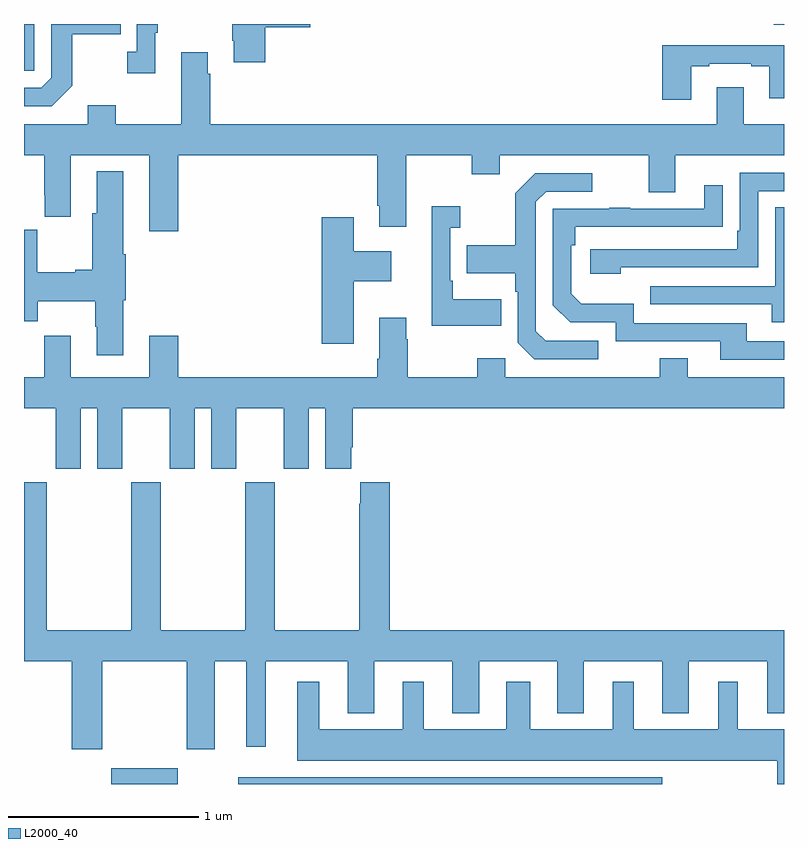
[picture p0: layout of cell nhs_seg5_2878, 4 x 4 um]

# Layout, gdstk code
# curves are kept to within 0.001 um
import gdstk
lib = gdstk.Library(unit=1e-6, precision=1e-09)
def R(c, l, rs):  # rectangles x0, y0, x1, y1
    for r in rs: c.add(gdstk.rectangle(r[:2], r[2:], *l))
def P(c, l, *ps):  # polygons
    for p in ps: c.add(gdstk.Polygon(p, *l))
L2000_40 = (2000, 40)

nhs_seg5_2878 = lib.new_cell('nhs_seg5_2878')
R(nhs_seg5_2878, L2000_40, [(279.458,838.799,279.808,838.882), (280.128,838.799,282.358,838.834), (279,842.553,279.054,842.799), (282.947,842.796,283,842.799)])
P(nhs_seg5_2878, L2000_40, [(279.691,842.753),(279.703,842.753),(279.703,842.799),(279.594,842.799),(279.594,842.654),(279.543,842.654),(279.543,842.541),(279.691,842.541)],
  [(280.271,842.783),(280.507,842.783),(280.507,842.799),(280.096,842.799),(280.096,842.71),(280.103,842.71),(280.103,842.598),(280.271,842.598)],
  [(279.253,842.473),(279.253,842.746),(279.509,842.746),(279.509,842.799),(279.144,842.799),(279.144,842.517),(279.09,842.463),(279,842.463),(279,842.367),(279.147,842.367)],
  [(282.511,842.577),(282.607,842.577),(282.607,842.589),(282.827,842.589),(282.827,842.577),(282.923,842.577),(282.923,842.408),(283,842.408),(283,842.686),(282.359,842.686),(282.359,842.4),(282.511,842.4)],
  [(279.812,842.108),(280.859,842.108),(280.859,841.843),(280.871,841.843),(280.871,841.731),(281.011,841.731),(281.011,842.108),(281.356,842.108),(281.356,842.009),(281.503,842.009),(281.503,842.108),(282.287,842.108),(282.287,841.914),(282.427,841.914),(282.427,842.108),(283,842.108),(283,842.272),(282.787,842.272),(282.787,842.467),(282.647,842.467),(282.647,842.272),(279.98,842.272),(279.98,842.537),(279.967,842.537),(279.967,842.65),(279.827,842.65),(279.827,842.272),(279.483,842.272),(279.483,842.371),(279.335,842.371),(279.335,842.272),(279,842.272),(279,842.108),(279.107,842.108),(279.107,841.897),(279.11,841.897),(279.11,841.785),(279.247,841.785),(279.247,842.108),(279.659,842.108),(279.659,841.707),(279.812,841.707)],
  [(279.523,841.344),(279.536,841.344),(279.536,841.588),(279.523,841.588),(279.523,842.023),(279.383,842.023),(279.383,841.803),(279.358,841.803),(279.358,841.505),(279.269,841.505),(279.269,841.492),(279.069,841.492),(279.069,841.715),(279,841.715),(279,841.234),(279.073,841.234),(279.073,841.34),(279.376,841.34),(279.376,841.206),(279.383,841.206),(279.383,841.056),(279.523,841.056)],
  [(282.14,841.518),(282.864,841.518),(282.864,841.92),(283,841.92),(283,842.016),(282.768,842.016),(282.768,841.711),(282.755,841.711),(282.755,841.614),(281.979,841.614),(281.979,841.484),(282.14,841.484)],
  [(282.022,841.131),(281.745,841.131),(281.694,841.182),(281.694,841.863),(281.748,841.917),(281.992,841.917),(281.992,842.013),(281.691,842.013),(281.586,841.907),(281.586,841.635),(281.329,841.635),(281.329,841.487),(281.586,841.487),(281.586,841.391),(281.598,841.391),(281.598,841.122),(281.685,841.035),(282.022,841.035)],
  [(283,841.128),(282.805,841.128),(282.805,841.224),(282.21,841.224),(282.21,841.327),(281.933,841.327),(281.88,841.38),(281.88,841.634),(281.9,841.634),(281.9,841.731),(282.677,841.732),(282.677,841.951),(282.581,841.951),(282.581,841.827),(282.191,841.827),(282.191,841.832),(282.079,841.832),(282.079,841.827),(281.784,841.827),(281.784,841.32),(281.874,841.23),(282.114,841.23),(282.114,841.128),(282.665,841.128),(282.665,841.032),(283,841.032)],
  [(281.513,841.351),(281.257,841.351),(281.257,841.447),(281.244,841.447),(281.244,841.727),(281.296,841.727),(281.296,841.84),(281.147,841.84),(281.147,841.211),(281.513,841.211)],
  [(283,841.835),(282.954,841.835),(282.954,841.419),(282.295,841.419),(282.295,841.323),(282.935,841.323),(282.935,841.229),(283,841.229)],
  [(280.735,841.445),(280.933,841.445),(280.933,841.603),(280.735,841.603),(280.735,841.783),(280.568,841.783),(280.568,841.116),(280.735,841.116)],
  [(279.298,840.776),(279.386,840.776),(279.386,840.459),(279.517,840.459),(279.517,840.776),(279.767,840.776),(279.767,840.459),(279.898,840.459),(279.898,840.776),(279.986,840.776),(279.986,840.459),(280.117,840.459),(280.117,840.776),(280.367,840.776),(280.367,840.459),(280.498,840.459),(280.498,840.776),(280.586,840.776),(280.586,840.459),(280.723,840.459),(280.723,840.571),(280.73,840.571),(280.73,840.776),(283,840.776),(283,840.94),(282.493,840.94),(282.493,841.039),(282.346,841.039),(282.346,840.94),(281.532,840.94),(281.532,841.039),(281.386,841.039),(281.386,840.94),(281.019,840.94),(281.019,841.139),(281.011,841.139),(281.011,841.252),(280.871,841.252),(280.871,841.036),(280.859,841.036),(280.859,840.94),(279.812,840.94),(279.812,841.159),(279.659,841.159),(279.659,840.94),(279.247,840.94),(279.247,841.159),(279.107,841.159),(279.107,840.94),(279,840.94),(279,840.776),(279.167,840.776),(279.167,840.459),(279.298,840.459)],
  [(280.925,840.388),(280.769,840.388),(280.769,840.275),(280.765,840.275),(280.765,839.608),(280.32,839.608),(280.32,840.388),(280.165,840.388),(280.165,839.608),(279.72,839.608),(279.72,840.388),(279.565,840.388),(279.565,839.608),(279.12,839.608),(279.12,840.388),(279,840.388),(279,839.444),(279.251,839.444),(279.251,838.983),(279.411,838.983),(279.411,839.444),(279.856,839.444),(279.856,838.983),(280.003,838.983),(280.003,839.444),(280.169,839.444),(280.169,838.995),(280.273,838.995),(280.273,839.444),(280.703,839.444),(280.703,839.171),(280.843,839.171),(280.843,839.444),(281.255,839.444),(281.255,839.171),(281.395,839.171),(281.395,839.444),(281.807,839.444),(281.807,839.171),(281.947,839.171),(281.947,839.444),(282.359,839.444),(282.359,839.171),(282.499,839.171),(282.499,839.444),(282.911,839.444),(282.911,839.171),(283,839.171),(283,839.608),(280.925,839.608)],
  [(283,839.086),(282.757,839.086),(282.757,839.338),(282.653,839.338),(282.653,839.086),(282.208,839.086),(282.208,839.338),(282.098,839.338),(282.098,839.086),(281.665,839.086),(281.665,839.338),(281.537,839.338),(281.537,839.086),(281.104,839.086),(281.104,839.338),(280.994,839.338),(280.994,839.086),(280.555,839.086),(280.555,839.338),(280.439,839.338),(280.439,838.922),(282.965,838.922),(282.965,838.799),(283,838.799)])

lib.write_gds('nhs_seg5_2878.gds')
